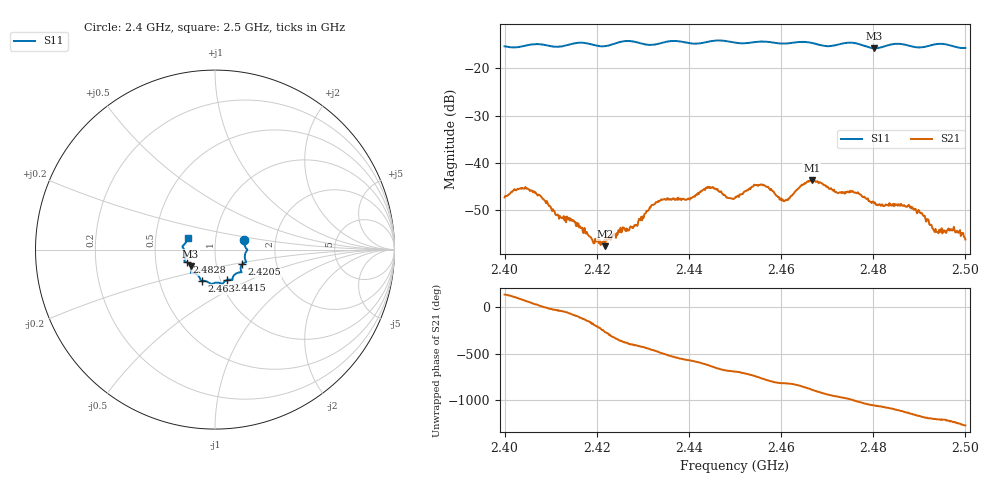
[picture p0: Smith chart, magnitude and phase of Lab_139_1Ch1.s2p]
# Hz S RI R 50
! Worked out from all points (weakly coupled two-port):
!   601 points, 2.4 GHz to 2.5 GHz, reference 50 ohm
!   highest |S21| = -43.64 dB at 2.4667 GHz (marker M1); lowest = -57.6 dB at 2.4218 GHz (marker M2)
!   lowest |S11| = -15.7 dB at 2.4802 GHz (marker M3), VSWR 1.39, Z = 37.5 - j6.97 ohm
!   |S11| at or under -10 dB: start of sweep to end of sweep
!   S12 and S22 are empty: the file has one direction only
!   S11 on the Smith chart (normalised r, x): 2.4 GHz: 1.38, +0.15; 2.4205 GHz: 1.34, -0.22; 2.4415 GHz: 1.07, -0.38; 2.463 GHz: 0.82, -0.29; 2.4828 GHz: 0.72, -0.10; 2.5 GHz: 0.73, +0.10
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2.4e9  0.1629 0.0527  -0.00292 0.00316  0 0  0 0
2.404833e9  0.1753 0.00468  0.00266 0.00468  0 0  0 0
2.4115e9  0.1663 -0.0307  0.00221 -0.00178  0 0  0 0
2.416667e9  0.1734 -0.0697  -0.00104 -0.00178  0 0  0 0
2.4205e9  0.152 -0.0811  -0.00105 0.00094  0 0  0 0
2.421833e9  0.1448 -0.0927  2.8e-05 0.00131  0 0  0 0
2.428333e9  0.1428 -0.1265  0.00147 -0.00159  0 0  0 0
2.433333e9  0.1004 -0.1514  -0.00192 -0.00343  0 0  0 0
2.4415e9  0.0659 -0.1702  -0.00325 0.00322  0 0  0 0
2.444833e9  0.0439 -0.1891  0.000346 0.00543  0 0  0 0
2.45e9  0.0247 -0.1855  0.00378 0.00193  0 0  0 0
2.454667e9  -0.0147 -0.19  0.00526 -0.00254  0 0  0 0
2.460667e9  -0.0526 -0.1751  -0.000295 -0.00391  0 0  0 0
2.463e9  -0.0721 -0.1735  -0.00162 -0.00466  0 0  0 0
2.466667e9  -0.0815 -0.1672  -0.00636 -0.00167  0 0  0 0
2.480167e9  -0.136 -0.0905  0.0033 0.00175  0 0  0 0
2.482833e9  -0.1583 -0.0701  0.0036 0.000258  0 0  0 0
2.483333e9  -0.1624 -0.0683  0.00351 6.53e-05  0 0  0 0
2.488e9  -0.1661 -0.0473  0.00163 -0.00293  0 0  0 0
2.493667e9  -0.18 0.0135  -0.000942 -0.0016  0 0  0 0
2.497167e9  -0.1698 0.0302  -0.00164 -0.00099  0 0  0 0
2.5e9  -0.1519 0.0638  -0.00153 0.000192  0 0  0 0
